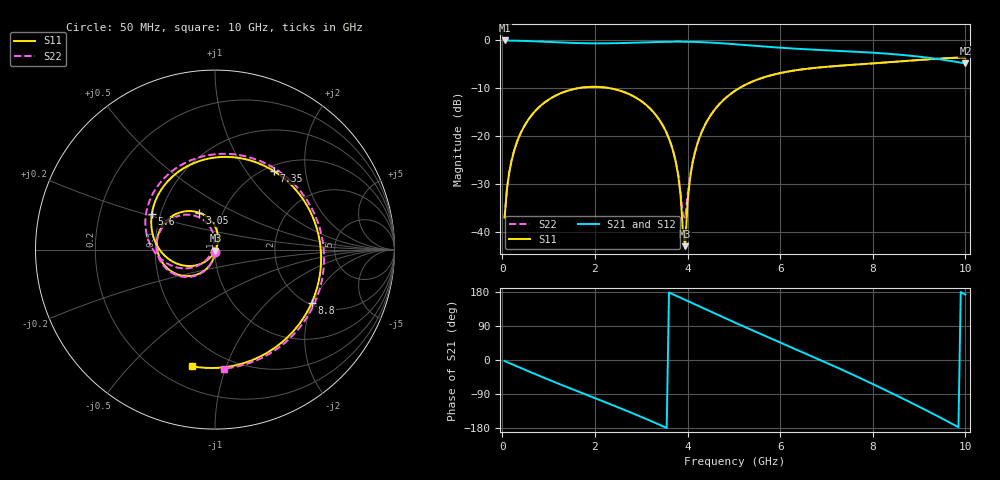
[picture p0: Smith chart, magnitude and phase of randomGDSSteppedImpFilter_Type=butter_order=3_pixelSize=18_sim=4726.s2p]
! freq	dB(S11)	phase(S11)	dB(S12)	phase(S12)
!  dB(S21)	phase(S21)	dB(S22)	phase(S22)
!S-par simulation data
#  GHz  S  DB  R 50
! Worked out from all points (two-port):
!   200 points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, 50 MHz to 10 GHz, reference 50 ohm
!   highest |S21| = -0.01 dB at 50 MHz (marker M1); lowest = -4.8 dB at 10 GHz (marker M2)
!   |S21| within 3 dB of the highest: start of sweep to 8.605 GHz
!   lowest |S11| = -43.0 dB at 3.95 GHz (marker M3), VSWR 1.01, Z = 50.2 - j0.667 ohm
!   |S11| at or under -10 dB: start of sweep to 1.631 GHz; 2.327 GHz to 5.114 GHz (2.787 GHz wide, 74.9 % of centre)
!   |S22| runs from -37.2 to -3.5 dB; largest |S21 - S12| = 0
!   S11 on the Smith chart (normalised r, x): 50 MHz: 1.00, -0.03; 3.05 GHz: 0.78, +0.34; 5.6 GHz: 0.45, +0.21; 7.35 GHz: 1.09, +1.36; 8.8 GHz: 2.08, -1.97; 10 GHz: 0.33, -0.77
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0.05  -37.05 -92.5  -0.01 -2.7  -0.01 -2.7  -37.05 -92.4
0.2  -25.14 -101.1  -0.03 -10.6  -0.03 -10.6  -25.14 -100.7
0.5  -17.50 -117.4  -0.11 -26.3  -0.11 -26.3  -17.50 -116.4
1.15  -11.54 -151.1  -0.39 -59.3  -0.39 -59.3  -11.55 -148.8
1.75  -9.83 179.0  -0.58 -88.5  -0.58 -88.5  -9.83 -177.3
2.4  -10.14 146.8  -0.59 -119.9  -0.59 -119.9  -10.14 152.3
3.05  -13.04 113.0  -0.41 -152.7  -0.41 -152.7  -13.05 121.5
3.4  -16.74 93.6  -0.31 -171.2  -0.31 -171.2  -16.74 105.3
3.75  -25.60 71.4  -0.26 169.7  -0.26 169.7  -25.49 95.1
3.95  -43.03 -70.1  -0.27 158.6  -0.27 158.6  -37.20 -173.7
4  -33.84 -107.8  -0.28 155.8  -0.28 155.8  -32.42 -142.1
4.05  -29.15 -115.4  -0.29 153.0  -0.29 153.0  -28.56 -132.9
4.2  -22.06 -127.6  -0.32 144.6  -0.32 144.6  -21.89 -130.7
4.55  -14.96 -149.3  -0.48 125.0  -0.48 125.0  -14.90 -144.7
5.05  -10.38 -178.3  -0.81 97.3  -0.81 97.3  -10.36 -169.6
5.6  -7.87 150.7  -1.23 67.7  -1.23 67.7  -7.86 162.7
6.7  -5.79 89.6  -1.92 9.1  -1.92 9.1  -5.80 107.5
7.35  -5.24 53.2  -2.22 -26.5  -2.22 -26.5  -5.26 73.5
8.35  -4.55 -3.2  -2.80 -84.0  -2.80 -84.0  -4.57 17.1
8.8  -4.23 -28.7  -3.19 -111.0  -3.19 -111.0  -4.23 -9.8
9.45  -3.79 -66.6  -3.95 -151.4  -3.95 -151.4  -3.78 -50.1
10  -3.57 -101.1  -4.81 172.6  -4.81 172.6  -3.54 -85.7
